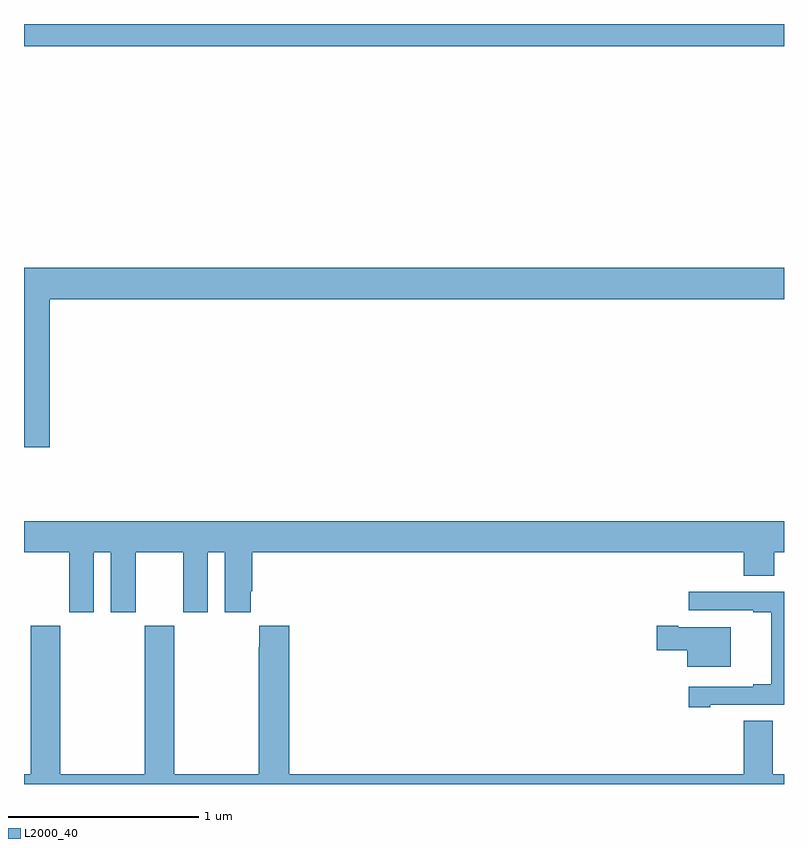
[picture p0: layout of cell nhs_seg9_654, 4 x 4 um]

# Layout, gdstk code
import gdstk
lib = gdstk.Library(unit=1e-6, precision=1e-09)
def R(c, l, rs):  # rectangles x0, y0, x1, y1
    for r in rs: c.add(gdstk.rectangle(r[:2], r[2:], *l))
def P(c, l, *ps):  # polygons
    for p in ps: c.add(gdstk.Polygon(p, *l))
L2000_40 = (2000, 40)

nhs_seg9_654 = lib.new_cell('nhs_seg9_654')
R(nhs_seg9_654, L2000_40, [(143,1232.384,147,1232.5)])
P(nhs_seg9_654, L2000_40, [(143.135,1231.052),(147,1231.052),(147,1231.216),(143,1231.216),(143,1230.273),(143.135,1230.273)],
  [(143.368,1229.72),(143.456,1229.72),(143.456,1229.403),(143.587,1229.403),(143.587,1229.72),(143.837,1229.72),(143.837,1229.403),(143.968,1229.403),(143.968,1229.72),(144.056,1229.72),(144.056,1229.403),(144.193,1229.403),(144.193,1229.515),(144.2,1229.515),(144.2,1229.72),(146.789,1229.72),(146.789,1229.596),(146.949,1229.596),(146.949,1229.72),(147,1229.72),(147,1229.884),(143,1229.884),(143,1229.72),(143.237,1229.72),(143.237,1229.403),(143.368,1229.403)],
  [(146.611,1228.917),(147,1228.917),(147,1229.511),(146.499,1229.511),(146.499,1229.415),(146.837,1229.415),(146.837,1229.403),(146.933,1229.403),(146.933,1229.026),(146.837,1229.026),(146.837,1229.013),(146.499,1229.013),(146.499,1228.905),(146.611,1228.905)],
  [(146.719,1229.326),(146.443,1229.326),(146.443,1229.334),(146.331,1229.334),(146.331,1229.204),(146.492,1229.204),(146.492,1229.117),(146.719,1229.117)],
  [(144.395,1229.332),(144.239,1229.332),(144.239,1229.219),(144.235,1229.219),(144.235,1228.552),(143.79,1228.552),(143.79,1229.332),(143.635,1229.332),(143.635,1228.552),(143.19,1228.552),(143.19,1229.332),(143.035,1229.332),(143.035,1228.552),(143,1228.552),(143,1228.5),(147,1228.5),(147,1228.552),(146.941,1228.552),(146.941,1228.832),(146.789,1228.832),(146.789,1228.552),(144.395,1228.552)])

lib.write_gds('nhs_seg9_654.gds')
